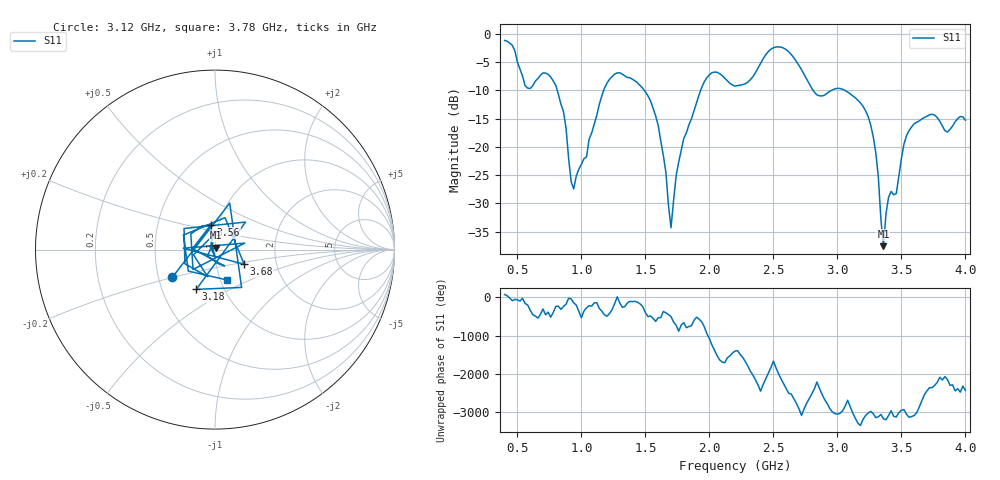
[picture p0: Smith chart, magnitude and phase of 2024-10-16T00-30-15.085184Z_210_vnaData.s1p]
! Created with skrf (http://scikit-rf.org).
# Hz S RI R 50.0
!freq ReS11 ImS11
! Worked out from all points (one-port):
!   181 points, 400 MHz to 4 GHz, reference 50 ohm
!   lowest |S11| = -37.6 dB at 3.36 GHz (marker M1), VSWR 1.03, Z = 50.7 + j1.15 ohm
!   |S11| at or under -10 dB: 811.2 MHz to 1.174 GHz (363.1 MHz wide, 36.6 % of centre); 1.491 GHz to 1.932 GHz (440.7 MHz wide, 25.8 % of centre); 3.06 GHz to end of sweep (the widest 3 of 4)
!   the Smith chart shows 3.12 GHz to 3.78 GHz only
!   S11 on the Smith chart (normalised r, x): 3.12 GHz: 0.59, -0.20; 3.18 GHz: 0.74, -0.35; 3.56 GHz: 0.92, +0.26; 3.68 GHz: 1.37, -0.23; 3.78 GHz: 1.07, -0.38
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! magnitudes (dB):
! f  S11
! 400 MHz  -1.2
! 560 MHz  -9.2
! 740 MHz  -7.2
! 860 MHz  -13.8
! 940 MHz  -27.5
! 1.18 GHz  -9.6
! 1.3 GHz  -6.9
! 1.58 GHz  -14.5
! 1.66 GHz  -24.5
! 1.7 GHz  -34.3
! 1.76 GHz  -22.7
! 1.98 GHz  -7.8
! 2.2 GHz  -9.3
! 2.5 GHz  -2.5
! 2.66 GHz  -4.3
! 2.84 GHz  -10.8
! 3.1 GHz  -10.6
! 3.12 GHz  -11.0
! 3.18 GHz  -12.2
! 3.28 GHz  -18.2
! 3.32 GHz  -25.4
! 3.36 GHz  -37.6
! 3.4 GHz  -28.9
! 3.46 GHz  -28.3
! 3.56 GHz  -17.1
! 3.68 GHz  -14.8
! 3.78 GHz  -14.8
! 4 GHz  -15.3
